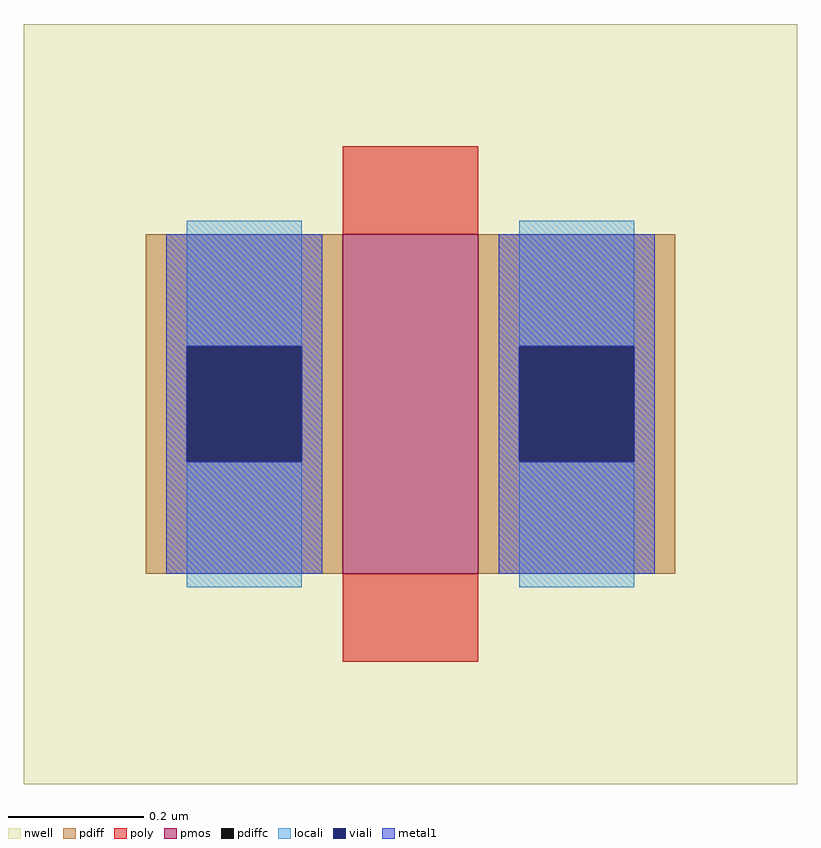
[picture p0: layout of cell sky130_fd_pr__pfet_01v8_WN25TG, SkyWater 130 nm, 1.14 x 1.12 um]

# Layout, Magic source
magic
tech sky130A
magscale 1 2
<< nwell >>
rect -114 -112 114 112
<< pmos >>
rect -20 -50 20 50
<< pdiff >>
rect -78 17 -20 50
rect -78 -17 -66 17
rect -32 -17 -20 17
rect -78 -50 -20 -17
rect 20 17 78 50
rect 20 -17 32 17
rect 66 -17 78 17
rect 20 -50 78 -17
<< pdiffc >>
rect -66 -17 -32 17
rect 32 -17 66 17
<< poly >>
rect -20 50 20 76
rect -20 -76 20 -50
<< locali >>
rect -66 17 -32 54
rect -66 -54 -32 -17
rect 32 17 66 54
rect 32 -54 66 -17
<< viali >>
rect -66 -17 -32 17
rect 32 -17 66 17
<< metal1 >>
rect -72 17 -26 50
rect -72 -17 -66 17
rect -32 -17 -26 17
rect -72 -50 -26 -17
rect 26 17 72 50
rect 26 -17 32 17
rect 66 -17 72 17
rect 26 -50 72 -17
<< end >>
